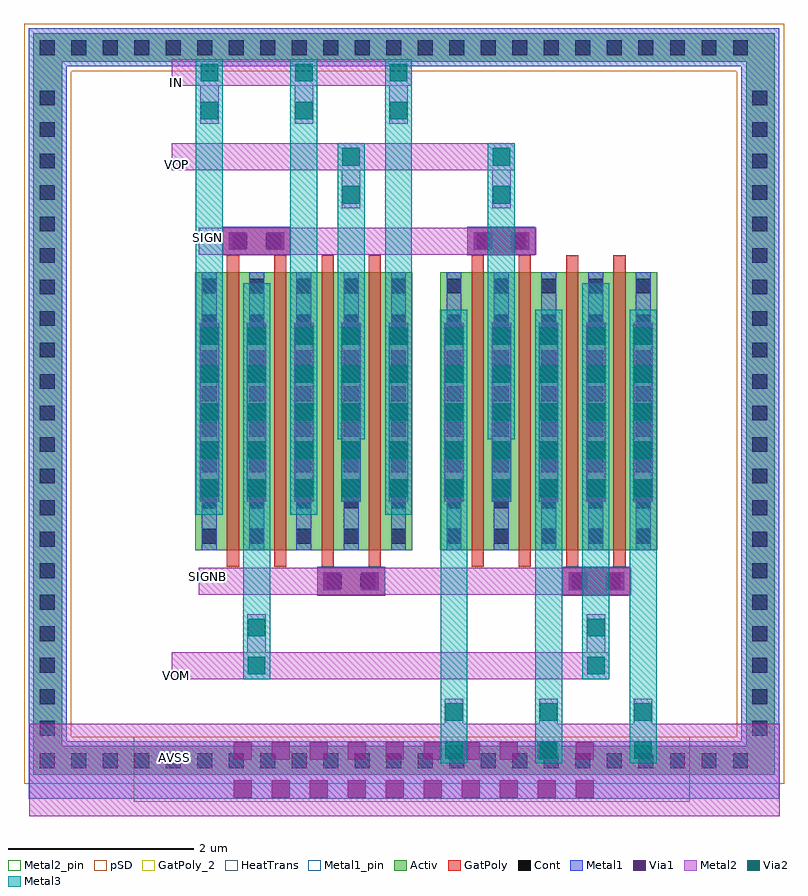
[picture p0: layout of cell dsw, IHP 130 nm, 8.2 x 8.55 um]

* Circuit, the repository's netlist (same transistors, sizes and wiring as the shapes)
** sch_path: /home/designer/shared/BASIC/current_generator/analog/DAC/schematics/dsw.sch
.subckt dsw SIGN SIGNB IN AVSS VOP VOM
*.PININFO SIGN:B SIGNB:B IN:B AVSS:B VOP:B VOM:B
MM1 IN SIGN VOM AVSS sg13_lv_nmos w=3u l=0.13u ng=1 m=2
MM2 VOM SIGNB AVSS AVSS sg13_lv_nmos w=3u l=0.13u ng=1 m=2
MM3 IN SIGNB VOP AVSS sg13_lv_nmos w=3u l=0.13u ng=1 m=2
MM4 VOP SIGN AVSS AVSS sg13_lv_nmos w=3u l=0.13u ng=1 m=2
.ends

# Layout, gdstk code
import gdstk
lib = gdstk.Library(unit=1e-6, precision=1e-09)
def R(c, l, rs):  # rectangles x0, y0, x1, y1
    for r in rs: c.add(gdstk.rectangle(r[:2], r[2:], *l))
def A(c, l, x, y, w, h, nx, ny, dx, dy):  # array of equal rectangles
    R(c, l, [(x+i*dx, y+j*dy, x+i*dx+w, y+j*dy+h) for i in range(nx) for j in range(ny)])
def P(c, l, *ps):  # polygons
    for p in ps: c.add(gdstk.Polygon(p, *l))
Activ = (1, 0)
GatPoly = (5, 0)
GatPoly_2 = (5, 2)
Cont = (6, 0)
Metal1 = (8, 0)
Metal1_pin = (8, 2)
Metal2 = (10, 0)
Metal2_pin = (10, 2)
pSD = (14, 0)
Via1 = (19, 0)
Via2 = (29, 0)
Metal3 = (30, 0)
HeatTrans = (51, 0)

nmos = lib.new_cell('nmos')
R(nmos, Activ, [(0,0,0.3,0.3), (0,0,0.81,3), (0.51,0,0.81,0.3)])
R(nmos, GatPoly, [(0.34,-0.18,0.47,3.18)])
R(nmos, GatPoly_2, [(0.34,-0.18,0.47,3.18)])
A(nmos, Cont, 0.07, 0.07, 0.16, 0.16, 1, 7, 0, 0.385)
A(nmos, Cont, 0.58, 0.07, 0.16, 0.16, 1, 7, 0, 0.385)
R(nmos, Cont, [(0.07,2.77,0.23,2.93), (0.58,2.77,0.74,2.93)])
R(nmos, Metal1, [(0.07,0,0.23,3), (0.58,0,0.74,3)])
R(nmos, Metal1_pin, [(0.07,0,0.23,3), (0.58,0,0.74,3)])
R(nmos, HeatTrans, [(0.34,-0.18,0.47,3.18)])
nmos.add(gdstk.Label('nmos', (0.405,1.5), layer=63, texttype=0))
nmos.add(gdstk.Label('nmos', (0.405,1.5), layer=51, texttype=0))

via_stack = lib.new_cell('via_stack')
R(via_stack, Metal1, [(-0.105,-0.965,0.105,0.965)])
R(via_stack, Metal2, [(-0.1,-0.965,0.1,0.965)])
A(via_stack, Via1, -0.095, -0.915, 0.19, 0.19, 1, 5, 0, 0.41)
A(via_stack, Via2, -0.095, -0.915, 0.19, 0.19, 1, 5, 0, 0.41)
R(via_stack, Metal3, [(-0.1,-0.965,0.1,0.965)])

via_stack_1 = lib.new_cell('via_stack$1')
R(via_stack_1, Metal1, [(-0.35,-0.105,0.35,0.105)])
R(via_stack_1, Metal2, [(-0.35,-0.1,0.35,0.1)])
R(via_stack_1, Via1, [(-0.3,-0.095,-0.11,0.095), (0.11,-0.095,0.3,0.095)])

via_stack_2 = lib.new_cell('via_stack$2')
R(via_stack_2, Metal2, [(-0.1,-0.35,0.1,0.35)])
R(via_stack_2, Via2, [(-0.095,-0.3,0.095,-0.11), (-0.095,0.11,0.095,0.3)])
R(via_stack_2, Metal3, [(-0.1,-0.35,0.1,0.35)])

via_stack_5 = lib.new_cell('via_stack$5')
R(via_stack_5, Metal1, [(-1.99,-0.31,1.99,0.31)])
R(via_stack_5, Metal2, [(-1.99,-0.305,1.99,0.305)])
A(via_stack_5, Via1, -1.94, -0.3, 0.19, 0.19, 10, 2, 0.41, 0.41)

guard_ring = lib.new_cell('GUARD_RING')
P(guard_ring, Activ, [(0,0),(0,7.69),(0.31,7.69),(0.31,0.31),(7.69,0.31),(7.69,7.69),(0,7.69),(0,8),(8,8),(8,0)])
A(guard_ring, Cont, 0.07, 0.07, 0.16, 0.16, 23, 2, 0.34, 7.69)
A(guard_ring, Cont, 0.07, 0.42, 0.16, 0.16, 1, 21, 0, 0.34)
A(guard_ring, Cont, 7.76, 0.42, 0.16, 0.16, 1, 21, 0, 0.34)
P(guard_ring, Metal1, [(-0.05,-0.05),(-0.05,7.64),(0.36,7.64),(0.36,0.36),(7.64,0.36),(7.64,7.64),(-0.05,7.64),(-0.05,8.05),(8.05,8.05),(8.05,-0.05)])
P(guard_ring, pSD, [(-0.1,-0.1),(-0.1,7.59),(0.41,7.59),(0.41,0.41),(7.59,0.41),(7.59,7.59),(-0.1,7.59),(-0.1,8.1),(8.1,8.1),(8.1,-0.1)])

dsw = lib.new_cell('dsw')
R(dsw, GatPoly, [(1.48,0.625,1.85,0.935), (1.84,0.625,2.21,0.935), (4.125,0.625,4.495,0.935), (4.485,0.625,4.855,0.935), (0.46,4.295,0.83,4.605), (0.82,4.295,1.19,4.605), (3.1,4.295,3.47,4.605), (3.46,4.295,3.83,4.605)])
R(dsw, Cont, [(1.585,0.7,1.745,0.86), (1.945,0.7,2.105,0.86), (4.23,0.7,4.39,0.86), (4.59,0.7,4.75,0.86), (0.565,4.37,0.725,4.53), (0.925,4.37,1.085,4.53), (3.205,4.37,3.365,4.53), (3.565,4.37,3.725,4.53)])
R(dsw, Metal1, [(-1.635,-1.565,6.465,-0.955), (1.48,0.625,1.85,0.935), (1.84,0.625,2.21,0.935), (4.125,0.625,4.495,0.935), (4.485,0.625,4.855,0.935), (0.46,4.295,0.83,4.605), (0.82,4.295,1.19,4.605), (3.1,4.295,3.47,4.605), (3.46,4.295,3.83,4.605)])
R(dsw, Metal2_pin, [(-0.5,-1.6,5.5,-0.9), (-0.09,-0.275,4.63,0.015), (0.2,0.635,4.865,0.925), (0.2,4.305,3.84,4.595), (-0.09,5.215,3.61,5.505), (-0.09,6.125,2.5,6.415)])
dsw.add(gdstk.FlexPath([(-1.63,-1.255),(6.47,-1.255)], 1, ends="flush", simple_path=True, layer=10, datatype=0))  # Metal2
dsw.add(gdstk.FlexPath([(0.2,0.78),(4.865,0.78)], 0.29, ends="flush", simple_path=True, layer=10, datatype=0))  # Metal2
dsw.add(gdstk.FlexPath([(-0.09,-1.04),(5.14,-1.04)], 0.29, ends="flush", simple_path=True, layer=10, datatype=0))  # Metal2
dsw.add(gdstk.FlexPath([(-0.09,5.36),(3.61,5.36)], 0.29, ends="flush", simple_path=True, layer=10, datatype=0))  # Metal2
dsw.add(gdstk.FlexPath([(-0.09,6.27),(2.5,6.27)], 0.29, ends="flush", simple_path=True, layer=10, datatype=0))  # Metal2
dsw.add(gdstk.FlexPath([(0.2,4.45),(3.84,4.45)], 0.29, ends="flush", simple_path=True, layer=10, datatype=0))  # Metal2
dsw.add(gdstk.FlexPath([(-0.09,-0.13),(4.63,-0.13)], 0.29, ends="flush", simple_path=True, layer=10, datatype=0))  # Metal2
dsw.add(gdstk.FlexPath([(0.315,1.5),(0.315,6.415)], 0.29, ends="flush", simple_path=True, layer=30, datatype=0))  # Metal3
dsw.add(gdstk.FlexPath([(0.825,-0.275),(0.825,3.995)], 0.29, ends="flush", simple_path=True, layer=30, datatype=0))  # Metal3
dsw.add(gdstk.FlexPath([(1.335,1.5),(1.335,6.415)], 0.29, ends="flush", simple_path=True, layer=30, datatype=0))  # Metal3
dsw.add(gdstk.FlexPath([(2.355,1.5),(2.355,6.415)], 0.29, ends="flush", simple_path=True, layer=30, datatype=0))  # Metal3
dsw.add(gdstk.FlexPath([(1.845,2.315),(1.845,5.505)], 0.29, ends="flush", simple_path=True, layer=30, datatype=0))  # Metal3
dsw.add(gdstk.FlexPath([(2.955,-1.185),(2.955,3.71)], 0.29, ends="flush", simple_path=True, layer=30, datatype=0))  # Metal3
dsw.add(gdstk.FlexPath([(3.465,2.315),(3.465,5.505)], 0.29, ends="flush", simple_path=True, layer=30, datatype=0))  # Metal3
dsw.add(gdstk.FlexPath([(3.975,-1.185),(3.975,3.71)], 0.29, ends="flush", simple_path=True, layer=30, datatype=0))  # Metal3
dsw.add(gdstk.FlexPath([(4.995,-1.185),(4.995,3.71)], 0.29, ends="flush", simple_path=True, layer=30, datatype=0))  # Metal3
dsw.add(gdstk.FlexPath([(4.485,-0.275),(4.485,3.995)], 0.29, ends="flush", simple_path=True, layer=30, datatype=0))  # Metal3
dsw.add(gdstk.Reference(nmos, (1.185,1.115)))
dsw.add(gdstk.Reference(nmos, (1.695,1.115)))
dsw.add(gdstk.Reference(nmos, (1.185,1.115)))
dsw.add(gdstk.Reference(nmos, (2.805,1.115)))
dsw.add(gdstk.Reference(via_stack, (3.465,2.605)))
dsw.add(gdstk.Reference(via_stack, (2.955,2.605)))
dsw.add(gdstk.Reference(via_stack, (1.845,2.605)))
dsw.add(gdstk.Reference(via_stack, (2.355,2.605)))
dsw.add(gdstk.Reference(via_stack_1, (1.845,0.78)))
dsw.add(gdstk.Reference(via_stack_1, (3.465,4.45)))
dsw.add(gdstk.Reference(via_stack_1, (4.49,0.78)))
dsw.add(gdstk.Reference(via_stack_2, (1.845,5.155)))
dsw.add(gdstk.Reference(via_stack_2, (0.315,6.065)))
dsw.add(gdstk.Reference(via_stack_2, (2.955,-0.835)))
dsw.add(gdstk.Reference(via_stack_2, (0.825,0.075)))
dsw.add(gdstk.Reference(nmos, (3.315,1.115)))
dsw.add(gdstk.Reference(via_stack_2, (1.335,6.065)))
dsw.add(gdstk.Reference(via_stack_2, (2.355,6.065)))
dsw.add(gdstk.Reference(via_stack_2, (3.465,5.155)))
dsw.add(gdstk.Reference(via_stack_2, (3.975,-0.835)))
dsw.add(gdstk.Reference(via_stack_2, (4.995,-0.835)))
dsw.add(gdstk.Reference(via_stack_2, (4.485,0.075)))
dsw.add(gdstk.Reference(via_stack_5, (2.52,-1.255)))
dsw.add(gdstk.Reference(guard_ring, (-1.585,-1.305)))
dsw.add(gdstk.Reference(via_stack_1, (0.825,4.45)))
dsw.add(gdstk.Reference(nmos, (3.825,1.115)))
dsw.add(gdstk.Reference(nmos, (4.335,1.115)))
dsw.add(gdstk.Reference(via_stack, (4.995,2.605)))
dsw.add(gdstk.Reference(via_stack, (3.975,2.605)))
dsw.add(gdstk.Reference(via_stack, (4.485,2.605)))
dsw.add(gdstk.Reference(via_stack, (1.335,2.605)))
dsw.add(gdstk.Reference(via_stack, (0.825,2.605)))
dsw.add(gdstk.Reference(via_stack, (0.315,2.605)))
dsw.add(gdstk.Reference(nmos, (0.675,1.115)))
dsw.add(gdstk.Reference(nmos, (0.165,1.115)))
dsw.add(gdstk.Reference(nmos, (0.675,1.115)))
dsw.add(gdstk.Reference(nmos, (0.165,1.115)))
dsw.add(gdstk.Label('SIGNB', (0.3,0.835), layer=10, texttype=25))
dsw.add(gdstk.Label('VOM', (-0.045,-0.235), layer=10, texttype=25))
dsw.add(gdstk.Label('SIGN', (0.3,4.49), layer=10, texttype=25))
dsw.add(gdstk.Label('VOP', (-0.045,5.275), layer=10, texttype=25))
dsw.add(gdstk.Label('IN', (-0.045,6.165), layer=10, texttype=25))
dsw.add(gdstk.Label('AVSS', (-0.06,-1.12), layer=10, texttype=25))

lib.write_gds('dsw.gds')
